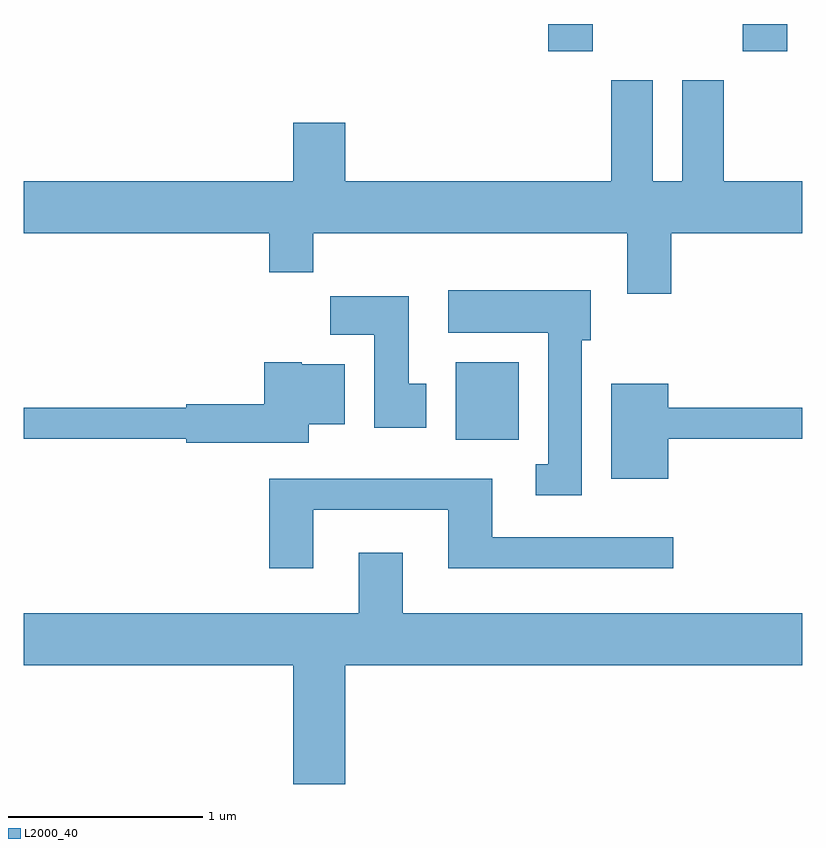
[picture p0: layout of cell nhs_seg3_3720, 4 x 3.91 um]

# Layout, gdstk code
import gdstk
lib = gdstk.Library(unit=1e-6, precision=1e-09)
def R(c, l, rs):  # rectangles x0, y0, x1, y1
    for r in rs: c.add(gdstk.rectangle(r[:2], r[2:], *l))
def P(c, l, *ps):  # polygons
    for p in ps: c.add(gdstk.Polygon(p, *l))
L2000_40 = (2000, 40)

nhs_seg3_3720 = lib.new_cell('nhs_seg3_3720')
R(nhs_seg3_3720, L2000_40, [(295.831,1213.756,296.154,1214.154), (296.306,1215.751,296.534,1215.892), (297.306,1215.751,297.534,1215.892)])
P(nhs_seg3_3720, L2000_40, [(296.939,1214.816),(297.611,1214.816),(297.611,1215.084),(297.209,1215.084),(297.209,1215.604),(296.996,1215.604),(296.996,1215.084),(296.844,1215.084),(296.844,1215.604),(296.631,1215.604),(296.631,1215.084),(295.264,1215.084),(295.264,1215.384),(294.996,1215.384),(294.996,1215.084),(293.611,1215.084),(293.611,1214.816),(294.871,1214.816),(294.871,1214.616),(295.099,1214.616),(295.099,1214.816),(296.711,1214.816),(296.711,1214.506),(296.939,1214.506)],
  [(296.479,1214.266),(296.524,1214.266),(296.524,1214.524),(295.791,1214.524),(295.791,1214.306),(296.306,1214.306),(296.306,1213.629),(296.243,1213.629),(296.243,1213.471),(296.479,1213.471)],
  [(295.679,1214.044),(295.589,1214.044),(295.589,1214.494),(295.186,1214.494),(295.186,1214.296),(295.411,1214.296),(295.411,1213.816),(295.679,1213.816)],
  [(295.074,1213.836),(295.259,1213.836),(295.259,1214.144),(295.04,1214.144),(295.04,1214.154),(294.846,1214.154),(294.846,1213.939),(294.446,1213.939),(294.446,1213.919),(293.611,1213.919),(293.611,1213.761),(294.446,1213.761),(294.446,1213.741),(295.074,1213.741)],
  [(296.924,1213.761),(297.611,1213.761),(297.611,1213.919),(296.924,1213.919),(296.924,1214.044),(296.631,1214.044),(296.631,1213.556),(296.924,1213.556)],
  [(295.099,1213.396),(295.791,1213.396),(295.791,1213.096),(296.948,1213.096),(296.948,1213.254),(296.019,1213.254),(296.019,1213.554),(294.871,1213.554),(294.871,1213.096),(295.099,1213.096)],
  [(295.264,1212.596),(297.611,1212.596),(297.611,1212.864),(295.559,1212.864),(295.559,1213.174),(295.331,1213.174),(295.331,1212.864),(293.611,1212.864),(293.611,1212.596),(294.996,1212.596),(294.996,1211.986),(295.264,1211.986)])

lib.write_gds('nhs_seg3_3720.gds')
